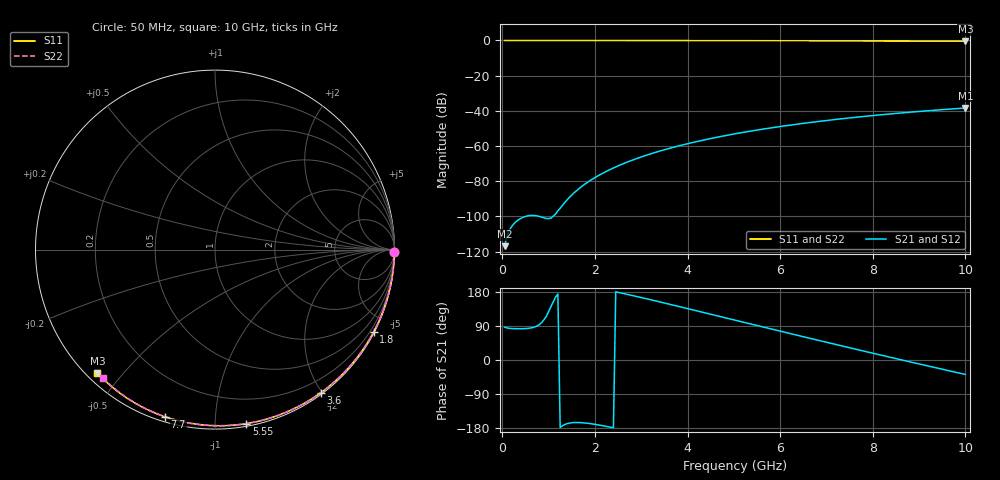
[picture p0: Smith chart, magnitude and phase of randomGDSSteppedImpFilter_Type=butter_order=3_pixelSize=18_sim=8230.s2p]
! freq	dB(S11)	phase(S11)	dB(S12)	phase(S12)
!  dB(S21)	phase(S21)	dB(S22)	phase(S22)
!S-par simulation data
#  GHz  S  DB  R 50
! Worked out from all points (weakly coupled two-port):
!   200 points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, 50 MHz to 10 GHz, reference 50 ohm
!   highest |S21| = -38.39 dB at 10 GHz (marker M1); lowest = -116.9 dB at 50 MHz (marker M2)
!   lowest |S11| = -0.5 dB at 10 GHz (marker M3), VSWR 38.36, Z = 1.54 - j21.4 ohm
!   |S11| at or under -10 dB: nowhere
!   |S22| runs from -0.4 to 0.0 dB; largest |S21 - S12| = 0
!   S11 on the Smith chart (normalised r, x): 50 MHz: open; 1.8 GHz: 0.04, -4.11; 3.6 GHz: 0.02, -1.99; 5.55 GHz: 0.02, -1.20; 7.7 GHz: 0.02, -0.75; 10 GHz: 0.03, -0.43
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0.05  -0.00 -0.8  -116.94 86.8  -116.94 86.8  -0.00 -0.8
0.9  -0.02 -13.8  -100.88 106.3  -100.88 106.3  -0.02 -13.6
1.75  -0.03 -26.6  -82.32 -165.8  -82.32 -165.8  -0.03 -26.2
1.8  -0.03 -27.3  -81.37 -166.4  -81.37 -166.4  -0.03 -26.9
1.85  -0.04 -28.1  -80.47 -167.1  -80.47 -167.1  -0.04 -27.6
1.9  -0.04 -28.8  -79.60 -167.9  -79.60 -167.9  -0.04 -28.4
2.05  -0.04 -31.0  -77.20 -170.7  -77.20 -170.7  -0.04 -30.5
2.25  -0.04 -34.0  -74.37 -175.2  -74.37 -175.2  -0.04 -33.5
2.45  -0.05 -36.9  -71.88 179.8  -71.88 179.8  -0.05 -36.3
2.65  -0.05 -39.8  -69.65 174.5  -69.65 174.5  -0.05 -39.2
3  -0.06 -44.9  -66.23 164.8  -66.23 164.8  -0.06 -44.2
3.4  -0.07 -50.6  -62.88 153.3  -62.88 153.3  -0.07 -49.8
3.6  -0.07 -53.4  -61.39 147.5  -61.39 147.5  -0.07 -52.6
4.3  -0.09 -63.1  -56.87 126.7  -56.87 126.7  -0.09 -62.2
5.05  -0.11 -73.2  -52.95 104.4  -52.95 104.4  -0.11 -72.1
5.55  -0.13 -79.8  -50.72 89.5  -50.72 89.5  -0.13 -78.6
6.1  -0.15 -86.9  -48.55 73.2  -48.55 73.2  -0.15 -85.5
6.7  -0.18 -94.4  -46.46 55.5  -46.46 55.5  -0.18 -92.9
7.7  -0.24 -106.6  -43.48 26.5  -43.48 26.5  -0.24 -104.9
8.35  -0.29 -114.4  -41.83 7.9  -41.83 7.9  -0.29 -112.5
9.15  -0.36 -123.8  -40.04 -14.6  -40.04 -14.6  -0.36 -121.6
10  -0.45 -133.7  -38.39 -38.2  -38.39 -38.2  -0.44 -131.2
